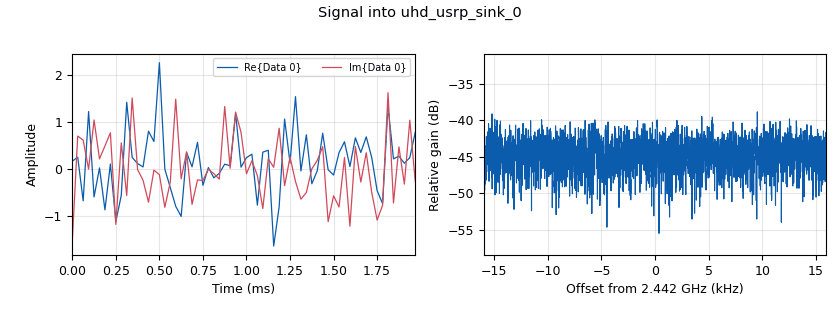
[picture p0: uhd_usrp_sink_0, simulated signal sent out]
options:
  parameters:
    generate_options: qt_gui
    id: wifi_jammer
    output_language: python
    title: Wifi Jammer
  states: {}

blocks:
- name: hack_freq
  id: variable_qtgui_range
  parameters:
    orient: Qt.Horizontal
    start: 2.4G
    step: '10'
    stop: 2.5G
    value: 2.442e9
  states: {}
- name: samp_rate
  id: variable
  parameters:
    value: '32000'
  states: {}
- name: samp_rate_1
  id: variable_qtgui_range
  parameters:
    orient: Qt.Horizontal
    start: '0'
    step: '1'
    stop: 20e6
    value: '50'
  states: {}
- name: tx_gain
  id: variable_qtgui_range
  parameters:
    orient: Qt.Horizontal
    start: '0'
    step: '10'
    stop: '100'
    value: '55'
  states: {}
- name: analog_fastnoise_source_x_0
  id: analog_fastnoise_source_x
  parameters:
    amp: '1'
    noise_type: analog.GR_GAUSSIAN
    samples: '8192'
    seed: '0'
    type: complex
  states: {}
- name: qtgui_sink_x_1
  id: qtgui_sink_x
  parameters:
    bw: samp_rate
    fc: hack_freq
    fftsize: '1024'
    rate: samp_rate_1
    type: complex
    wintype: firdes.WIN_BLACKMAN_hARRIS
  states: {state: disabled}
- name: uhd_usrp_sink_0
  id: uhd_usrp_sink
  parameters:
    ant0: TX/RX
    center_freq0: hack_freq
    dev_args: '""'
    gain0: tx_gain
    len_tag_name: ''
    norm_gain0: 'False'
    samp_rate: samp_rate
    sync: sync
    type: fc32
  states: {}

connections:
- [analog_fastnoise_source_x_0, '0', qtgui_sink_x_1, '0']
- [analog_fastnoise_source_x_0, '0', uhd_usrp_sink_0, '0']

metadata:
  file_format: 1
